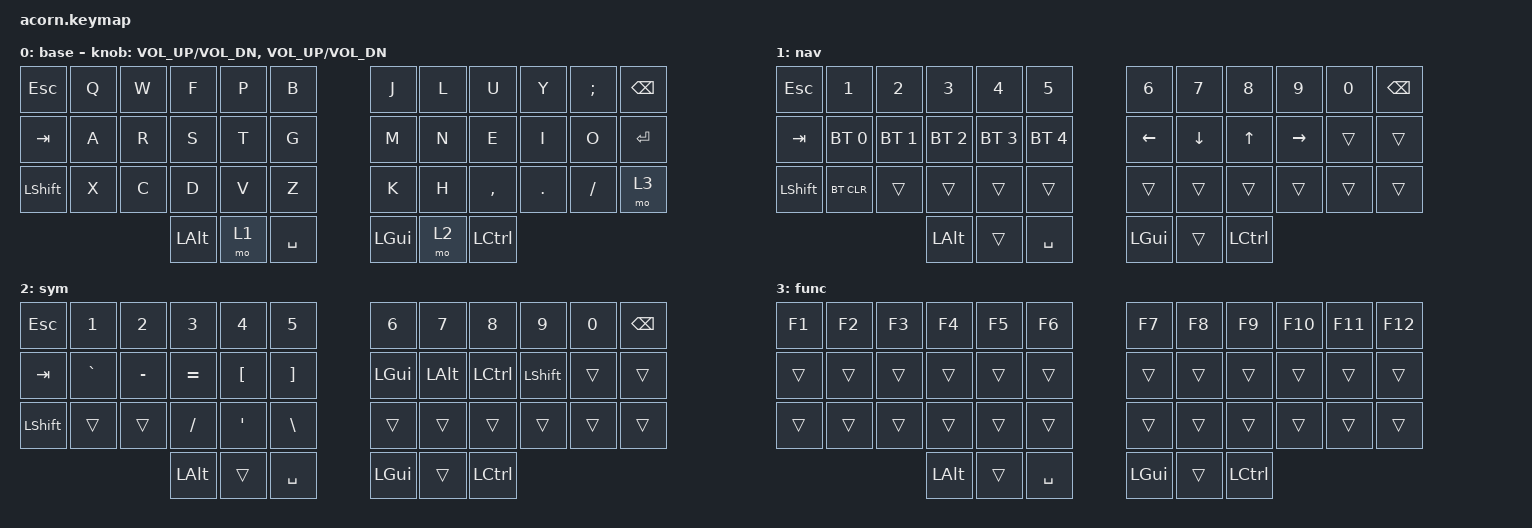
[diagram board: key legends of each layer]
#include <behaviors.dtsi>
#include <dt-bindings/zmk/keys.h>
#include <dt-bindings/zmk/bt.h>

/ {

    keymap {
        compatible = "zmk,keymap";

        default_layer {
            display-name = "base";
            sensor-bindings = <&inc_dec_kp C_VOL_UP C_VOL_DN &inc_dec_kp C_VOL_UP C_VOL_DN>;
// -----------------------------------------------------------------------------------------
// |  ESC |  Q  |  W  |  F  |  P  |  B  |   |  J  |  L   |  U  |  Y  |  ;  | BSPC |
// |  TAB |  A  |  R  |  S  |  T  |  G  |   |  M  |  N   |  E  |  I  |  O  | RET  |
// | SHFT |  X  |  C  |  D  |  V  |  Z  |   |  K  |  H   |  ,  |  .  |  /  |FUNC  |
//                    | ALT | NAV | SPC |   | GUI | SYM  | CTRL|
            bindings = <
&kp ESC   &kp Q &kp W &kp F &kp P &kp B   &kp J &kp L  &kp U     &kp Y   &kp SEMI    &kp BSPC
&kp TAB &kp A &kp R &kp S &kp T &kp G   &kp M &kp N  &kp E     &kp I   &kp O &kp RET
&kp LSHFT &kp X &kp C &kp D &kp V &kp Z   &kp K &kp H  &kp COMMA &kp DOT &kp FSLH &mo 3 
                &kp LALT &mo 1 &kp SPACE   &kp LGUI &mo 2 &kp LCTRL
            >;
        };

        raise_layer{
            display-name = "nav";
// -----------------------------------------------------------------------------------------
// |  ESC |  1  |  2  |  3  |  4  |  5  |   |  6  |  7  |  8  |  9  |  0  | BSPC |
// |  TAB | BT1 | BT2 | BT3 | BT4 | BT5 |   | LFT | DWN |  UP | RGT |     |      |
// | SHFT |BTCLR|     |     |     |     |   |     |     |     |     |     |      |
//                    | ALT |     | SPC |   | GUI |     | CTRL|
            bindings = <
&kp ESC &kp N1       &kp N2       &kp N3       &kp N4       &kp N5         &kp N6   &kp N7   &kp N8 &kp N9    &kp N0 &kp BSPC
&kp TAB &bt BT_SEL 0 &bt BT_SEL 1 &bt BT_SEL 2 &bt BT_SEL 3 &bt BT_SEL 4   &kp LEFT &kp DOWN &kp UP &kp RIGHT &trans &trans
&kp LSHFT  &bt BT_CLR &trans       &trans       &trans       &trans         &trans   &trans   &trans &trans    &trans &trans
                &kp LALT &trans &kp SPACE   &kp LGUI &trans &kp LCTRL
            >;
        };

        lower_layer{
            display-name = "sym";
// -----------------------------------------------------------------------------------------
// |  ESC |  1  |  2  |  3  |  4  |  5  |   |  6  |  7  |  8  |  9  |  0  | BSPC |
// |  TAB |  `  |  -  |  =  |  [  |  ]  |   | GUI | ALT | CTRL| SHFT|     |      |
// | SHFT |     |     |  /  |  '  |  \  |   |     |     |     |     |     |      |
//                    | ALT |     | SPC |   | GUI |     | CTRL|
            bindings = <
&kp ESC &kp N1       &kp N2       &kp N3       &kp N4       &kp N5         &kp N6   &kp N7   &kp N8 &kp N9    &kp N0 &kp BSPC
&kp TAB &kp GRAVE   &kp MINUS &kp EQUAL   &kp LBKT &kp RBKT &kp LGUI &kp LALT &kp LCTRL &kp LSHIFT &trans &trans
&kp LSHFT &trans   &trans &kp FSLH &kp APOS &kp BSLH &trans &trans &trans &trans &trans &trans
                &kp LALT &trans &kp SPACE   &kp LGUI &trans &kp LCTRL
            >;
        };

        extra_layer0 {
            display-name = "func";
// -----------------------------------------------------------------------------------------
// |  F1  |  F2 |  F3 |  F4 |  F5 |  F6 |   |  F7 |  F8 |  F9 | F10 | F11 | F12 |
// |      |     |     |     |     |     |   |     |     |     |     |     |      |
// |      |     |     |     |     |     |   |     |     |     |     |     |      |
//                    | ALT |     | SPC |   | GUI |     | CTRL|
            bindings = <
&kp F1   &kp F2 &kp F3 &kp F4 &kp F5 &kp F6   &kp F7 &kp F8 &kp F9 &kp F10 &kp F11 &kp F12 
&trans &trans &trans &trans &trans &trans  &trans &trans &trans &trans &trans  &trans
&trans &trans &trans &trans &trans &trans    &trans &trans &trans &trans &trans  &trans
                        &kp LALT &trans &kp SPACE   &kp LGUI &trans &kp LCTRL
            >;
        };

        extra_layer1 {
            display-name = "extra_layer1";
            status = "reserved";
        };

        extra_layer2 {
            display-name = "extra_layer2";
            status = "reserved";
        };
    };
};
